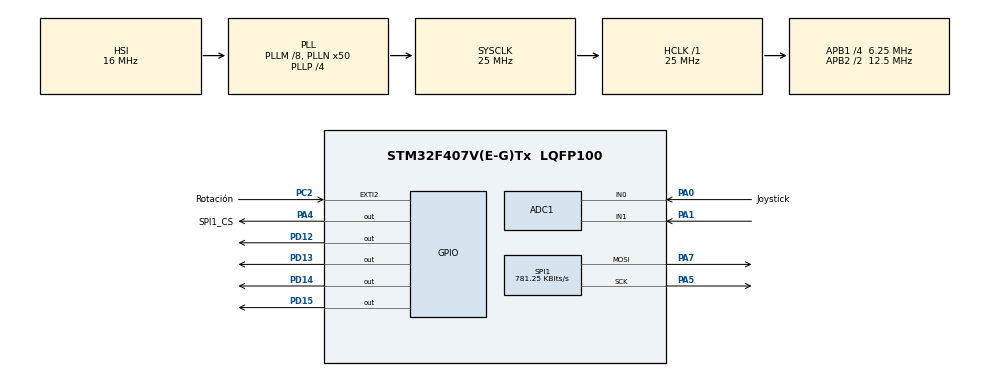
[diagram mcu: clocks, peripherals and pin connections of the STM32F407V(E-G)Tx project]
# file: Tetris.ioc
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ADC1.Channel-2\#ChannelRegularConversion=ADC_CHANNEL_1
ADC1.Channel-4\#ChannelRegularConversion=ADC_CHANNEL_0
ADC1.ContinuousConvMode=ENABLE
ADC1.DMAContinuousRequests=ENABLE
ADC1.EOCSelection=ADC_EOC_SEQ_CONV
ADC1.InjNumberOfConversion=0
ADC1.NbrOfConversion=2
ADC1.NbrOfConversionFlag=1
ADC1.Rank-2\#ChannelRegularConversion=1
ADC1.Rank-4\#ChannelRegularConversion=2
ADC1.SamplingTime-2\#ChannelRegularConversion=ADC_SAMPLETIME_144CYCLES
ADC1.SamplingTime-4\#ChannelRegularConversion=ADC_SAMPLETIME_144CYCLES
ADC1.ScanConvMode=ENABLE
ADC1.master=1
Dma.ADC1.0.Direction=DMA_PERIPH_TO_MEMORY
Dma.ADC1.0.FIFOMode=DMA_FIFOMODE_DISABLE
Dma.ADC1.0.Instance=DMA2_Stream0
Dma.ADC1.0.MemDataAlignment=DMA_MDATAALIGN_HALFWORD
Dma.ADC1.0.MemInc=DMA_MINC_ENABLE
Dma.ADC1.0.Mode=DMA_CIRCULAR
Dma.ADC1.0.PeriphDataAlignment=DMA_PDATAALIGN_HALFWORD
Dma.ADC1.0.PeriphInc=DMA_PINC_DISABLE
Dma.ADC1.0.Priority=DMA_PRIORITY_LOW
Dma.Request0=ADC1
Mcu.Family=STM32F4
Mcu.Name=STM32F407V(E-G)Tx
Mcu.Package=LQFP100
NVIC.ADC_IRQn=true\:0\:0\:false\:false\:true\:true\:true\:true
NVIC.DMA2_Stream0_IRQn=true\:0\:0\:false\:false\:true\:false\:true\:true
NVIC.EXTI2_IRQn=true\:0\:0\:false\:false\:true\:true\:true\:true
NVIC.PriorityGroup=NVIC_PRIORITYGROUP_0
NVIC.TIM2_IRQn=true\:0\:0\:false\:false\:true\:true\:true\:true
PA0-WKUP.GPIO_Label=Joystick
PA0-WKUP.Signal=ADCx_IN0
PA1.Signal=ADCx_IN1
PA4.GPIO_Label=SPI1_CS
PA4.GPIO_Speed=GPIO_SPEED_FREQ_HIGH
PA4.PinState=GPIO_PIN_SET
PA4.Signal=GPIO_Output
PA5.Mode=TX_Only_Simplex_Unidirect_Master
PA5.Signal=SPI1_SCK
PA7.Mode=TX_Only_Simplex_Unidirect_Master
PA7.Signal=SPI1_MOSI
PC2.GPIO_Label=Rotaci\u00F3n
PC2.GPIO_PuPd=GPIO_PULLDOWN
PC2.Signal=GPXTI2
PD12.Signal=GPIO_Output
PD13.Signal=GPIO_Output
PD14.Signal=GPIO_Output
PD15.Signal=GPIO_Output
ProjectManager.HeapSize=0x200
ProjectManager.StackSize=0x400
ProjectManager.TargetToolchain=STM32CubeIDE
RCC.48MHZClocksFreq_Value=14285714.285714285
RCC.AHBFreq_Value=25000000
RCC.APB1CLKDivider=RCC_HCLK_DIV4
RCC.APB1Freq_Value=6250000
RCC.APB1TimFreq_Value=12500000
RCC.APB2CLKDivider=RCC_HCLK_DIV2
RCC.APB2Freq_Value=12500000
RCC.APB2TimFreq_Value=25000000
RCC.CortexFreq_Value=25000000
RCC.HCLKFreq_Value=25000000
RCC.HSE_VALUE=8000000
RCC.HSI_VALUE=16000000
RCC.LSE_VALUE=32768
RCC.PLLM=8
RCC.PLLN=50
RCC.PLLP=RCC_PLLP_DIV4
RCC.PLLQ=7
RCC.SYSCLKFreq_VALUE=25000000
RCC.SYSCLKSource=RCC_SYSCLKSOURCE_PLLCLK
RCC.VCOOutputFreq_Value=100000000
SH.ADCx_IN0.0=ADC1_IN0,IN0
SH.ADCx_IN1.0=ADC1_IN1,IN1
SPI1.BaudRatePrescaler=SPI_BAUDRATEPRESCALER_16
SPI1.CalculateBaudRate=781.25 KBits/s
SPI1.Direction=SPI_DIRECTION_2LINES
SPI1.Mode=SPI_MODE_MASTER
SPI1.VirtualType=VM_MASTER
TIM2.Period=499
TIM2.Prescaler=12499
VP_TIM2_VS_ClockSourceINT.Mode=Internal
board=STM32F407G-DISC1

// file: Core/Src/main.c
/* USER CODE BEGIN Header */
/**
  ******************************************************************************
  * @file           : main.c
  * @brief          : Main program body
  ******************************************************************************
  * @attention
  *
  * Copyright (c) 2025 STMicroelectronics.
  * All rights reserved.
  *
  * This software is licensed under terms that can be found in the LICENSE file
  * in the root directory of this software component.
  * If no LICENSE file comes with this software, it is provided AS-IS.
  *
  ******************************************************************************
  */
/* USER CODE END Header */
#include "main.h"

/* USER CODE BEGIN Includes */
#include "juego_fsm.h"
/* USER CODE END Includes */

ADC_HandleTypeDef hadc1;
DMA_HandleTypeDef hdma_adc1;

SPI_HandleTypeDef hspi1;

TIM_HandleTypeDef htim2;

/* USER CODE BEGIN PV */
volatile uint8_t flag_rotar=0, flag_timer = 0;
uint32_t lecturasJoystick[2];
Juego_t Tetris;
/* USER CODE END PV */

void SystemClock_Config(void);
static void MX_GPIO_Init(void);
static void MX_DMA_Init(void);
static void MX_ADC1_Init(void);
static void MX_SPI1_Init(void);
static void MX_TIM2_Init(void);

/* USER CODE BEGIN 0 */
void HAL_GPIO_EXTI_Callback(uint16_t GPIO_Pin){
	if (GPIO_Pin == GPIO_PIN_2) flag_rotar=1;
}

void HAL_TIM_PeriodElapsedCallback (TIM_HandleTypeDef *htim){
	if (htim->Instance == TIM2) flag_timer = 1;
}

void MAX7219_Send(int8_t target_module, uint8_t reg, uint8_t data) {
    HAL_GPIO_WritePin(GPIOA, GPIO_PIN_4, GPIO_PIN_RESET); // CS Low

    for (int8_t i = NUM_MATRIZ - 1; i >= 0; i--) {
        if (i == target_module) {
            HAL_SPI_Transmit(&hspi1, &reg, 1, 100);
            HAL_SPI_Transmit(&hspi1, &data, 1, 100);
        }
        else {

            uint8_t noop_reg = MAX7219_REG_NOOP;
            uint8_t noop_data = 0x00;
            HAL_SPI_Transmit(&hspi1, &noop_reg, 1, 100);
            HAL_SPI_Transmit(&hspi1, &noop_data, 1, 100);
        }
    }

    HAL_GPIO_WritePin(GPIOA, GPIO_PIN_4, GPIO_PIN_SET); // CS High
}

/* USER CODE END 0 */

int main(void)
{

  /* MCU Configuration--------------------------------------------------------*/

  /* Reset of all peripherals, Initializes the Flash interface and the Systick. */
  HAL_Init();

  /* Configure the system clock */
  SystemClock_Config();

  /* Initialize all configured peripherals */
  MX_GPIO_Init();
  MX_DMA_Init();
  MX_ADC1_Init();
  MX_SPI1_Init();
  MX_TIM2_Init();
  /* USER CODE BEGIN 2 */
  // Inicializamos la lógica del Tetris
  Juego_Init(&Tetris);

  HAL_TIM_Base_Start_IT(&htim2);
  HAL_ADC_Start_DMA(&hadc1, lecturasJoystick, 2);

  /* USER CODE END 2 */

  /* Infinite loop */
  while (1)
  {

    /* USER CODE BEGIN 3 */
	  __HAL_TIM_SET_PRESCALER (&htim2, Tetris.velocidadCaida);

	  Juego_EjecutarMaquinaEstados(&Tetris, &flag_rotar, &flag_timer, lecturasJoystick);

	  HAL_Delay(10);

  }
  /* USER CODE END 3 */
}

void SystemClock_Config(void)
{
  RCC_OscInitTypeDef RCC_OscInitStruct = {0};
  RCC_ClkInitTypeDef RCC_ClkInitStruct = {0};

  /** Configure the main internal regulator output voltage
  */
  __HAL_RCC_PWR_CLK_ENABLE();
  __HAL_PWR_VOLTAGESCALING_CONFIG(PWR_REGULATOR_VOLTAGE_SCALE1);

  /** Initializes the RCC Oscillators according to the specified parameters
  * in the RCC_OscInitTypeDef structure.
  */
  RCC_OscInitStruct.OscillatorType = RCC_OSCILLATORTYPE_HSI;
  RCC_OscInitStruct.HSIState = RCC_HSI_ON;
  RCC_OscInitStruct.HSICalibrationValue = RCC_HSICALIBRATION_DEFAULT;
  RCC_OscInitStruct.PLL.PLLState = RCC_PLL_ON;
  RCC_OscInitStruct.PLL.PLLSource = RCC_PLLSOURCE_HSI;
  RCC_OscInitStruct.PLL.PLLM = 8;
  RCC_OscInitStruct.PLL.PLLN = 50;
  RCC_OscInitStruct.PLL.PLLP = RCC_PLLP_DIV4;
  RCC_OscInitStruct.PLL.PLLQ = 7;
  if (HAL_RCC_OscConfig(&RCC_OscInitStruct) != HAL_OK)
  {
    Error_Handler();
  }

  /** Initializes the CPU, AHB and APB buses clocks
  */
  RCC_ClkInitStruct.ClockType = RCC_CLOCKTYPE_HCLK|RCC_CLOCKTYPE_SYSCLK
                              |RCC_CLOCKTYPE_PCLK1|RCC_CLOCKTYPE_PCLK2;
  RCC_ClkInitStruct.SYSCLKSource = RCC_SYSCLKSOURCE_PLLCLK;
  RCC_ClkInitStruct.AHBCLKDivider = RCC_SYSCLK_DIV1;
  RCC_ClkInitStruct.APB1CLKDivider = RCC_HCLK_DIV4;
  RCC_ClkInitStruct.APB2CLKDivider = RCC_HCLK_DIV2;

  if (HAL_RCC_ClockConfig(&RCC_ClkInitStruct, FLASH_LATENCY_0) != HAL_OK)
  {
    Error_Handler();
  }
}

static void MX_ADC1_Init(void)
{

  ADC_ChannelConfTypeDef sConfig = {0};

  /** Configure the global features of the ADC (Clock, Resolution, Data Alignment and number of conversion)
  */
  hadc1.Instance = ADC1;
  hadc1.Init.ClockPrescaler = ADC_CLOCK_SYNC_PCLK_DIV2;
  hadc1.Init.Resolution = ADC_RESOLUTION_12B;
  hadc1.Init.ScanConvMode = ENABLE;
  hadc1.Init.ContinuousConvMode = ENABLE;
  hadc1.Init.DiscontinuousConvMode = DISABLE;
  hadc1.Init.ExternalTrigConvEdge = ADC_EXTERNALTRIGCONVEDGE_NONE;
  hadc1.Init.ExternalTrigConv = ADC_SOFTWARE_START;
  hadc1.Init.DataAlign = ADC_DATAALIGN_RIGHT;
  hadc1.Init.NbrOfConversion = 2;
  hadc1.Init.DMAContinuousRequests = ENABLE;
  hadc1.Init.EOCSelection = ADC_EOC_SEQ_CONV;
  if (HAL_ADC_Init(&hadc1) != HAL_OK)
  {
    Error_Handler();
  }

  /** Configure for the selected ADC regular channel its corresponding rank in the sequencer and its sample time.
  */
  sConfig.Channel = ADC_CHANNEL_1;
  sConfig.Rank = 1;
  sConfig.SamplingTime = ADC_SAMPLETIME_144CYCLES;
  if (HAL_ADC_ConfigChannel(&hadc1, &sConfig) != HAL_OK)
  {
    Error_Handler();
  }

  /** Configure for the selected ADC regular channel its corresponding rank in the sequencer and its sample time.
  */
  sConfig.Channel = ADC_CHANNEL_0;
  sConfig.Rank = 2;
  if (HAL_ADC_ConfigChannel(&hadc1, &sConfig) != HAL_OK)
  {
    Error_Handler();
  }

}

static void MX_SPI1_Init(void)
{

  /* SPI1 parameter configuration*/
  hspi1.Instance = SPI1;
  hspi1.Init.Mode = SPI_MODE_MASTER;
  hspi1.Init.Direction = SPI_DIRECTION_2LINES;
  hspi1.Init.DataSize = SPI_DATASIZE_8BIT;
  hspi1.Init.CLKPolarity = SPI_POLARITY_LOW;
  hspi1.Init.CLKPhase = SPI_PHASE_1EDGE;
  hspi1.Init.NSS = SPI_NSS_SOFT;
  hspi1.Init.BaudRatePrescaler = SPI_BAUDRATEPRESCALER_16;
  hspi1.Init.FirstBit = SPI_FIRSTBIT_MSB;
  hspi1.Init.TIMode = SPI_TIMODE_DISABLE;
  hspi1.Init.CRCCalculation = SPI_CRCCALCULATION_DISABLE;
  hspi1.Init.CRCPolynomial = 10;
  if (HAL_SPI_Init(&hspi1) != HAL_OK)
  {
    Error_Handler();
  }

}

static void MX_TIM2_Init(void)
{

  TIM_ClockConfigTypeDef sClockSourceConfig = {0};
  TIM_MasterConfigTypeDef sMasterConfig = {0};

  htim2.Instance = TIM2;
  htim2.Init.Prescaler = 12499;
  htim2.Init.CounterMode = TIM_COUNTERMODE_UP;
  htim2.Init.Period = 499;
  htim2.Init.ClockDivision = TIM_CLOCKDIVISION_DIV1;
  htim2.Init.AutoReloadPreload = TIM_AUTORELOAD_PRELOAD_DISABLE;
  if (HAL_TIM_Base_Init(&htim2) != HAL_OK)
  {
    Error_Handler();
  }
  sClockSourceConfig.ClockSource = TIM_CLOCKSOURCE_INTERNAL;
  if (HAL_TIM_ConfigClockSource(&htim2, &sClockSourceConfig) != HAL_OK)
  {
    Error_Handler();
  }
  sMasterConfig.MasterOutputTrigger = TIM_TRGO_RESET;
  sMasterConfig.MasterSlaveMode = TIM_MASTERSLAVEMODE_DISABLE;
  if (HAL_TIMEx_MasterConfigSynchronization(&htim2, &sMasterConfig) != HAL_OK)
  {
    Error_Handler();
  }

}

static void MX_DMA_Init(void)
{

  /* DMA controller clock enable */
  __HAL_RCC_DMA2_CLK_ENABLE();

  /* DMA interrupt init */
  /* DMA2_Stream0_IRQn interrupt configuration */
  HAL_NVIC_SetPriority(DMA2_Stream0_IRQn, 0, 0);
  HAL_NVIC_EnableIRQ(DMA2_Stream0_IRQn);

}

static void MX_GPIO_Init(void)
{
  GPIO_InitTypeDef GPIO_InitStruct = {0};

  /* GPIO Ports Clock Enable */
  __HAL_RCC_GPIOC_CLK_ENABLE();
  __HAL_RCC_GPIOA_CLK_ENABLE();
  __HAL_RCC_GPIOD_CLK_ENABLE();

  /*Configure GPIO pin Output Level */
  HAL_GPIO_WritePin(SPI1_CS_GPIO_Port, SPI1_CS_Pin, GPIO_PIN_SET);

  /*Configure GPIO pin Output Level */
  HAL_GPIO_WritePin(GPIOD, GPIO_PIN_12|GPIO_PIN_13|GPIO_PIN_14|GPIO_PIN_15, GPIO_PIN_RESET);

  /*Configure GPIO pin : Rotaci_n_Pin */
  GPIO_InitStruct.Pin = Rotaci_n_Pin;
  GPIO_InitStruct.Mode = GPIO_MODE_IT_RISING;
  GPIO_InitStruct.Pull = GPIO_PULLDOWN;
  HAL_GPIO_Init(Rotaci_n_GPIO_Port, &GPIO_InitStruct);

  /*Configure GPIO pin : SPI1_CS_Pin */
  GPIO_InitStruct.Pin = SPI1_CS_Pin;
  GPIO_InitStruct.Mode = GPIO_MODE_OUTPUT_PP;
  GPIO_InitStruct.Pull = GPIO_NOPULL;
  GPIO_InitStruct.Speed = GPIO_SPEED_FREQ_HIGH;
  HAL_GPIO_Init(SPI1_CS_GPIO_Port, &GPIO_InitStruct);

  /*Configure GPIO pins : PD12 PD13 PD14 PD15 */
  GPIO_InitStruct.Pin = GPIO_PIN_12|GPIO_PIN_13|GPIO_PIN_14|GPIO_PIN_15;
  GPIO_InitStruct.Mode = GPIO_MODE_OUTPUT_PP;
  GPIO_InitStruct.Pull = GPIO_NOPULL;
  GPIO_InitStruct.Speed = GPIO_SPEED_FREQ_LOW;
  HAL_GPIO_Init(GPIOD, &GPIO_InitStruct);

  /* EXTI interrupt init*/
  HAL_NVIC_SetPriority(EXTI2_IRQn, 0, 0);
  HAL_NVIC_EnableIRQ(EXTI2_IRQn);

}

void Error_Handler(void)
{
  __disable_irq();
  while (1)
  {
  }
}
